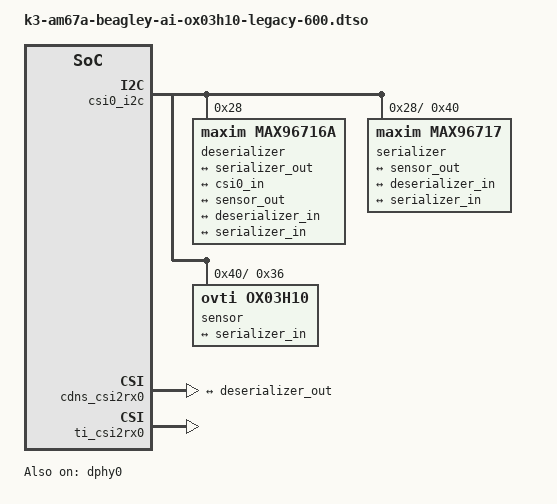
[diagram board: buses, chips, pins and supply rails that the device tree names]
// SPDX-License-Identifier: GPL-2.0-only OR MIT
/* CSI0 profile: MAX96716A output 600 MHz; sensor output 750 MHz. */

/dts-v1/;
/plugin/;

#include "k3-pinctrl.h"

&main_pmx0 {
	ox03h10_i2c2_pins_default: ox03h10-i2c2-default-pins {
		pinctrl-single,pins = <
			J722S_IOPAD(0x00b0, PIN_INPUT_PULLUP, 1) /* (P22) GPMC0_CSn2.I2C2_SCL */
			J722S_IOPAD(0x00b4, PIN_INPUT_PULLUP, 1) /* (P23) GPMC0_CSn3.I2C2_SDA */
		>;
	};
};

&csi0_i2c {
	pinctrl-names = "default";
	pinctrl-0 = <&ox03h10_i2c2_pins_default>;
	#address-cells = <1>;
	#size-cells = <0>;
	status = "okay";

	deserializer: gmsl-deserializer@28 {
		compatible = "maxim,max96716a";
		reg = <0x28>;

		ports {
			#address-cells = <1>;
			#size-cells = <0>;

			port@0 {
				reg = <0>;
				deserializer_in: endpoint {
					remote-endpoint = <&serializer_out>;
				};
			};

			port@1 {
				reg = <1>;
				deserializer_out: endpoint {
					remote-endpoint = <&csi0_in>;
					data-lanes = <1 2 3 4>;
					link-frequencies = /bits/ 64 <600000000>;
				};
			};
		};

		i2c-gate {
			#address-cells = <1>;
			#size-cells = <0>;

			serializer: gmsl-serializer@40 {
				compatible = "maxim,max96717";
				reg = <0x40>;
				gpio-controller;
				#gpio-cells = <2>;
				#clock-cells = <0>;

				ports {
					#address-cells = <1>;
					#size-cells = <0>;

					port@0 {
						reg = <0>;
						serializer_in: endpoint {
							remote-endpoint = <&sensor_out>;
							data-lanes = <1 2 3 4>;
						};
					};

					port@1 {
						reg = <1>;
						serializer_out: endpoint {
							remote-endpoint = <&deserializer_in>;
						};
					};
				};

				i2c-gate {
					#address-cells = <1>;
					#size-cells = <0>;

					sensor: camera@36 {
						compatible = "ovti,ox03h10";
						reg = <0x36>;
						clocks = <&serializer>;
						clock-names = "xvclk";

						port {
							sensor_out: endpoint {
								remote-endpoint = <&serializer_in>;
								data-lanes = <1 2 3 4>;
								link-frequencies = /bits/ 64 <750000000>;
							};
						};
					};
				};
			};
		};
	};
};

&cdns_csi2rx0 {
	ports {
		#address-cells = <1>;
		#size-cells = <0>;

		csi0_port0: port@0 {
			reg = <0>;
			status = "okay";

			csi0_in: endpoint {
				remote-endpoint = <&deserializer_out>;
				bus-type = <4>;
				clock-lanes = <0>;
				data-lanes = <1 2 3 4>;
			};
		};
	};
};

&ti_csi2rx0 {
	status = "okay";
};

&dphy0 {
	status = "okay";
};
